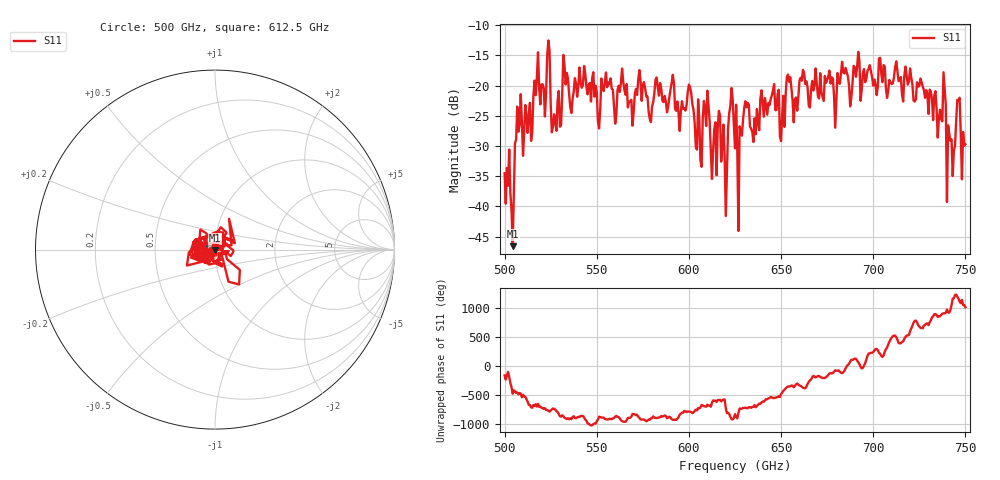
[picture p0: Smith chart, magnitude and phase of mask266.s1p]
!Created with skrf (http://scikit-rf.org).
# GHz S MA R 50.0
!freq magS11 angS11
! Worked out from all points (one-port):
!   401 points, 500 GHz to 750 GHz, reference 50 ohm
!   lowest |S11| = -46.6 dB at 504.4 GHz (marker M1), VSWR 1.01, Z = 49.8 - j0.406 ohm
!   |S11| at or under -10 dB: start of sweep to end of sweep
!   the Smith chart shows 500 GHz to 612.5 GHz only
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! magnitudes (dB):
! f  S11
! 500 GHz  -34.5
! 504.4 GHz  -46.6
! 507.5 GHz  -27.6
! 513.8 GHz  -22.9
! 516.9 GHz  -21.6
! 523.8 GHz  -12.5
! 526.9 GHz  -24.8
! 531.2 GHz  -21.6
! 562.5 GHz  -21.0
! 579.4 GHz  -26.1
! 590.6 GHz  -19.6
! 593.8 GHz  -22.6
! 600.6 GHz  -20.3
! 605.6 GHz  -25.6
! 609.4 GHz  -26.7
! 619.4 GHz  -31.6
! 622.5 GHz  -23.3
! 625 GHz  -30.4
! 627.5 GHz  -26.7
! 631.2 GHz  -23.6
! 635 GHz  -29.3
! 656.2 GHz  -22.6
! 687.5 GHz  -23.4
! 718.8 GHz  -19.8
! 738.1 GHz  -17.8
! 741.2 GHz  -28.0
! 746.2 GHz  -22.5
! 750 GHz  -29.7
